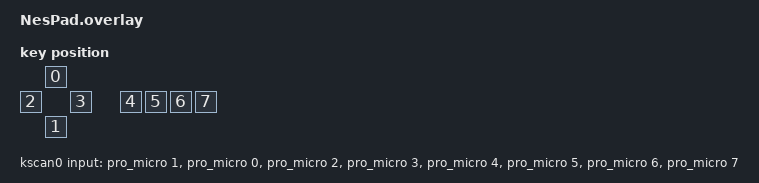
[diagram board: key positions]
#include <dt-bindings/zmk/matrix_transform.h>
#include <dt-bindings/gpio/gpio.h>
#include <physical_layouts.dtsi>

/ {
    chosen {
        zmk,kscan = &kscan0;
    };
 
    kscan0: kscan {
        compatible = "zmk,kscan-gpio-direct";
        wakeup-source;

        input-gpios = <&pro_micro 1 (GPIO_ACTIVE_LOW | GPIO_PULL_UP)>,
              <&pro_micro 0 (GPIO_ACTIVE_LOW | GPIO_PULL_UP)>,
              <&pro_micro 2 (GPIO_ACTIVE_LOW | GPIO_PULL_UP)>,
              <&pro_micro 3 (GPIO_ACTIVE_LOW | GPIO_PULL_UP)>,
              <&pro_micro 4 (GPIO_ACTIVE_LOW | GPIO_PULL_UP)>,
              <&pro_micro 5 (GPIO_ACTIVE_LOW | GPIO_PULL_UP)>,
              <&pro_micro 6 (GPIO_ACTIVE_LOW | GPIO_PULL_UP)>,
              <&pro_micro 7 (GPIO_ACTIVE_LOW | GPIO_PULL_UP)>;
    };

    default_transform: default_transform {
        compatible = "zmk,matrix-transform";
        rows = <2>;
        columns = <4>;
        map = <  0 1 2 3 // Row 0 mapping
                 4 5 6 7 // Row 1 mapping
              >;
    };

    nes_physical_layout: nes_physical_layout {
        compatible = "zmk,physical-layout";
        display-name = "NES Controller";
        transform = <&default_transform>;
        kscan = <&kscan0>;

keys = <&key_physical_attrs 50 50 50 0 0 0 0>  // Up
     , <&key_physical_attrs 50 50 50 100 0 0 0>  // Down
     , <&key_physical_attrs 50 50 0 50 0 0 0>  // Left
     , <&key_physical_attrs 50 50 100 50 0 0 0>  // Right
     , <&key_physical_attrs 50 50 200 50 0 0 0>  // Select
     , <&key_physical_attrs 50 50 250 50 0 0 0>  // Start
     , <&key_physical_attrs 50 50 300 50 0 0 0>  // B
     , <&key_physical_attrs 50 50 350 50 0 0 0>; // A
    };
};
